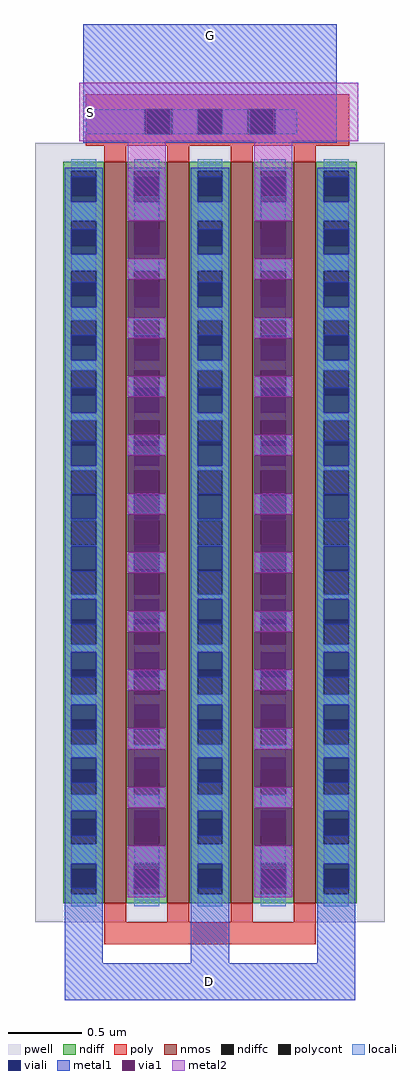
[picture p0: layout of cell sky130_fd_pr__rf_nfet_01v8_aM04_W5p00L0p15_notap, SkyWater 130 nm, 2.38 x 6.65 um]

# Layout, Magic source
magic
tech sky130B
magscale 1 2
<< pwell >>
rect 100 66 576 1128
<< nmos >>
rect 194 92 224 1102
rect 280 92 310 1102
rect 366 92 396 1102
rect 452 92 482 1102
<< ndiff >>
rect 138 1090 194 1102
rect 138 1056 149 1090
rect 183 1056 194 1090
rect 138 1022 194 1056
rect 138 988 149 1022
rect 183 988 194 1022
rect 138 954 194 988
rect 138 920 149 954
rect 183 920 194 954
rect 138 886 194 920
rect 138 852 149 886
rect 183 852 194 886
rect 138 818 194 852
rect 138 784 149 818
rect 183 784 194 818
rect 138 750 194 784
rect 138 716 149 750
rect 183 716 194 750
rect 138 682 194 716
rect 138 648 149 682
rect 183 648 194 682
rect 138 614 194 648
rect 138 580 149 614
rect 183 580 194 614
rect 138 546 194 580
rect 138 512 149 546
rect 183 512 194 546
rect 138 478 194 512
rect 138 444 149 478
rect 183 444 194 478
rect 138 410 194 444
rect 138 376 149 410
rect 183 376 194 410
rect 138 342 194 376
rect 138 308 149 342
rect 183 308 194 342
rect 138 274 194 308
rect 138 240 149 274
rect 183 240 194 274
rect 138 206 194 240
rect 138 172 149 206
rect 183 172 194 206
rect 138 138 194 172
rect 138 104 149 138
rect 183 104 194 138
rect 138 92 194 104
rect 224 1090 280 1102
rect 224 1056 235 1090
rect 269 1056 280 1090
rect 224 1022 280 1056
rect 224 988 235 1022
rect 269 988 280 1022
rect 224 954 280 988
rect 224 920 235 954
rect 269 920 280 954
rect 224 886 280 920
rect 224 852 235 886
rect 269 852 280 886
rect 224 818 280 852
rect 224 784 235 818
rect 269 784 280 818
rect 224 750 280 784
rect 224 716 235 750
rect 269 716 280 750
rect 224 682 280 716
rect 224 648 235 682
rect 269 648 280 682
rect 224 614 280 648
rect 224 580 235 614
rect 269 580 280 614
rect 224 546 280 580
rect 224 512 235 546
rect 269 512 280 546
rect 224 478 280 512
rect 224 444 235 478
rect 269 444 280 478
rect 224 410 280 444
rect 224 376 235 410
rect 269 376 280 410
rect 224 342 280 376
rect 224 308 235 342
rect 269 308 280 342
rect 224 274 280 308
rect 224 240 235 274
rect 269 240 280 274
rect 224 206 280 240
rect 224 172 235 206
rect 269 172 280 206
rect 224 138 280 172
rect 224 104 235 138
rect 269 104 280 138
rect 224 92 280 104
rect 310 1090 366 1102
rect 310 1056 321 1090
rect 355 1056 366 1090
rect 310 1022 366 1056
rect 310 988 321 1022
rect 355 988 366 1022
rect 310 954 366 988
rect 310 920 321 954
rect 355 920 366 954
rect 310 886 366 920
rect 310 852 321 886
rect 355 852 366 886
rect 310 818 366 852
rect 310 784 321 818
rect 355 784 366 818
rect 310 750 366 784
rect 310 716 321 750
rect 355 716 366 750
rect 310 682 366 716
rect 310 648 321 682
rect 355 648 366 682
rect 310 614 366 648
rect 310 580 321 614
rect 355 580 366 614
rect 310 546 366 580
rect 310 512 321 546
rect 355 512 366 546
rect 310 478 366 512
rect 310 444 321 478
rect 355 444 366 478
rect 310 410 366 444
rect 310 376 321 410
rect 355 376 366 410
rect 310 342 366 376
rect 310 308 321 342
rect 355 308 366 342
rect 310 274 366 308
rect 310 240 321 274
rect 355 240 366 274
rect 310 206 366 240
rect 310 172 321 206
rect 355 172 366 206
rect 310 138 366 172
rect 310 104 321 138
rect 355 104 366 138
rect 310 92 366 104
rect 396 1090 452 1102
rect 396 1056 407 1090
rect 441 1056 452 1090
rect 396 1022 452 1056
rect 396 988 407 1022
rect 441 988 452 1022
rect 396 954 452 988
rect 396 920 407 954
rect 441 920 452 954
rect 396 886 452 920
rect 396 852 407 886
rect 441 852 452 886
rect 396 818 452 852
rect 396 784 407 818
rect 441 784 452 818
rect 396 750 452 784
rect 396 716 407 750
rect 441 716 452 750
rect 396 682 452 716
rect 396 648 407 682
rect 441 648 452 682
rect 396 614 452 648
rect 396 580 407 614
rect 441 580 452 614
rect 396 546 452 580
rect 396 512 407 546
rect 441 512 452 546
rect 396 478 452 512
rect 396 444 407 478
rect 441 444 452 478
rect 396 410 452 444
rect 396 376 407 410
rect 441 376 452 410
rect 396 342 452 376
rect 396 308 407 342
rect 441 308 452 342
rect 396 274 452 308
rect 396 240 407 274
rect 441 240 452 274
rect 396 206 452 240
rect 396 172 407 206
rect 441 172 452 206
rect 396 138 452 172
rect 396 104 407 138
rect 441 104 452 138
rect 396 92 452 104
rect 482 1090 538 1102
rect 482 1056 493 1090
rect 527 1056 538 1090
rect 482 1022 538 1056
rect 482 988 493 1022
rect 527 988 538 1022
rect 482 954 538 988
rect 482 920 493 954
rect 527 920 538 954
rect 482 886 538 920
rect 482 852 493 886
rect 527 852 538 886
rect 482 818 538 852
rect 482 784 493 818
rect 527 784 538 818
rect 482 750 538 784
rect 482 716 493 750
rect 527 716 538 750
rect 482 682 538 716
rect 482 648 493 682
rect 527 648 538 682
rect 482 614 538 648
rect 482 580 493 614
rect 527 580 538 614
rect 482 546 538 580
rect 482 512 493 546
rect 527 512 538 546
rect 482 478 538 512
rect 482 444 493 478
rect 527 444 538 478
rect 482 410 538 444
rect 482 376 493 410
rect 527 376 538 410
rect 482 342 538 376
rect 482 308 493 342
rect 527 308 538 342
rect 482 274 538 308
rect 482 240 493 274
rect 527 240 538 274
rect 482 206 538 240
rect 482 172 493 206
rect 527 172 538 206
rect 482 138 538 172
rect 482 104 493 138
rect 527 104 538 138
rect 482 92 538 104
<< ndiffc >>
rect 149 1056 183 1090
rect 149 988 183 1022
rect 149 920 183 954
rect 149 852 183 886
rect 149 784 183 818
rect 149 716 183 750
rect 149 648 183 682
rect 149 580 183 614
rect 149 512 183 546
rect 149 444 183 478
rect 149 376 183 410
rect 149 308 183 342
rect 149 240 183 274
rect 149 172 183 206
rect 149 104 183 138
rect 235 1056 269 1090
rect 235 988 269 1022
rect 235 920 269 954
rect 235 852 269 886
rect 235 784 269 818
rect 235 716 269 750
rect 235 648 269 682
rect 235 580 269 614
rect 235 512 269 546
rect 235 444 269 478
rect 235 376 269 410
rect 235 308 269 342
rect 235 240 269 274
rect 235 172 269 206
rect 235 104 269 138
rect 321 1056 355 1090
rect 321 988 355 1022
rect 321 920 355 954
rect 321 852 355 886
rect 321 784 355 818
rect 321 716 355 750
rect 321 648 355 682
rect 321 580 355 614
rect 321 512 355 546
rect 321 444 355 478
rect 321 376 355 410
rect 321 308 355 342
rect 321 240 355 274
rect 321 172 355 206
rect 321 104 355 138
rect 407 1056 441 1090
rect 407 988 441 1022
rect 407 920 441 954
rect 407 852 441 886
rect 407 784 441 818
rect 407 716 441 750
rect 407 648 441 682
rect 407 580 441 614
rect 407 512 441 546
rect 407 444 441 478
rect 407 376 441 410
rect 407 308 441 342
rect 407 240 441 274
rect 407 172 441 206
rect 407 104 441 138
rect 493 1056 527 1090
rect 493 988 527 1022
rect 493 920 527 954
rect 493 852 527 886
rect 493 784 527 818
rect 493 716 527 750
rect 493 648 527 682
rect 493 580 527 614
rect 493 512 527 546
rect 493 444 527 478
rect 493 376 527 410
rect 493 308 527 342
rect 493 240 527 274
rect 493 172 527 206
rect 493 104 527 138
<< poly >>
rect 169 1174 528 1194
rect 169 1140 253 1174
rect 287 1140 321 1174
rect 355 1140 389 1174
rect 423 1140 528 1174
rect 169 1124 528 1140
rect 194 1102 224 1124
rect 280 1102 310 1124
rect 366 1102 396 1124
rect 452 1102 482 1124
rect 194 66 224 92
rect 280 66 310 92
rect 366 66 396 92
rect 452 66 482 92
rect 194 36 482 66
<< polycont >>
rect 253 1140 287 1174
rect 321 1140 355 1174
rect 389 1140 423 1174
<< locali >>
rect 169 1140 249 1174
rect 287 1140 321 1174
rect 355 1140 389 1174
rect 427 1140 457 1174
rect 149 1090 183 1106
rect 149 1022 183 1048
rect 149 954 183 976
rect 149 886 183 904
rect 149 818 183 832
rect 149 750 183 760
rect 149 682 183 688
rect 149 614 183 616
rect 149 578 183 580
rect 149 506 183 512
rect 149 434 183 444
rect 149 362 183 376
rect 149 290 183 308
rect 149 218 183 240
rect 149 146 183 172
rect 149 88 183 104
rect 235 1090 269 1106
rect 235 1022 269 1048
rect 235 954 269 976
rect 235 886 269 904
rect 235 818 269 832
rect 235 750 269 760
rect 235 682 269 688
rect 235 614 269 616
rect 235 578 269 580
rect 235 506 269 512
rect 235 434 269 444
rect 235 362 269 376
rect 235 290 269 308
rect 235 218 269 240
rect 235 146 269 172
rect 235 88 269 104
rect 321 1090 355 1106
rect 321 1022 355 1048
rect 321 954 355 976
rect 321 886 355 904
rect 321 818 355 832
rect 321 750 355 760
rect 321 682 355 688
rect 321 614 355 616
rect 321 578 355 580
rect 321 506 355 512
rect 321 434 355 444
rect 321 362 355 376
rect 321 290 355 308
rect 321 218 355 240
rect 321 146 355 172
rect 321 88 355 104
rect 407 1090 441 1106
rect 407 1022 441 1048
rect 407 954 441 976
rect 407 886 441 904
rect 407 818 441 832
rect 407 750 441 760
rect 407 682 441 688
rect 407 614 441 616
rect 407 578 441 580
rect 407 506 441 512
rect 407 434 441 444
rect 407 362 441 376
rect 407 290 441 308
rect 407 218 441 240
rect 407 146 441 172
rect 407 88 441 104
rect 493 1090 527 1106
rect 493 1022 527 1048
rect 493 954 527 976
rect 493 886 527 904
rect 493 818 527 832
rect 493 750 527 760
rect 493 682 527 688
rect 493 614 527 616
rect 493 578 527 580
rect 493 506 527 512
rect 493 434 527 444
rect 493 362 527 376
rect 493 290 527 308
rect 493 218 527 240
rect 493 146 527 172
rect 493 88 527 104
<< viali >>
rect 249 1140 253 1174
rect 253 1140 283 1174
rect 321 1140 355 1174
rect 393 1140 423 1174
rect 423 1140 427 1174
rect 149 1056 183 1082
rect 149 1048 183 1056
rect 149 988 183 1010
rect 149 976 183 988
rect 149 920 183 938
rect 149 904 183 920
rect 149 852 183 866
rect 149 832 183 852
rect 149 784 183 794
rect 149 760 183 784
rect 149 716 183 722
rect 149 688 183 716
rect 149 648 183 650
rect 149 616 183 648
rect 149 546 183 578
rect 149 544 183 546
rect 149 478 183 506
rect 149 472 183 478
rect 149 410 183 434
rect 149 400 183 410
rect 149 342 183 362
rect 149 328 183 342
rect 149 274 183 290
rect 149 256 183 274
rect 149 206 183 218
rect 149 184 183 206
rect 149 138 183 146
rect 149 112 183 138
rect 235 1056 269 1082
rect 235 1048 269 1056
rect 235 988 269 1010
rect 235 976 269 988
rect 235 920 269 938
rect 235 904 269 920
rect 235 852 269 866
rect 235 832 269 852
rect 235 784 269 794
rect 235 760 269 784
rect 235 716 269 722
rect 235 688 269 716
rect 235 648 269 650
rect 235 616 269 648
rect 235 546 269 578
rect 235 544 269 546
rect 235 478 269 506
rect 235 472 269 478
rect 235 410 269 434
rect 235 400 269 410
rect 235 342 269 362
rect 235 328 269 342
rect 235 274 269 290
rect 235 256 269 274
rect 235 206 269 218
rect 235 184 269 206
rect 235 138 269 146
rect 235 112 269 138
rect 321 1056 355 1082
rect 321 1048 355 1056
rect 321 988 355 1010
rect 321 976 355 988
rect 321 920 355 938
rect 321 904 355 920
rect 321 852 355 866
rect 321 832 355 852
rect 321 784 355 794
rect 321 760 355 784
rect 321 716 355 722
rect 321 688 355 716
rect 321 648 355 650
rect 321 616 355 648
rect 321 546 355 578
rect 321 544 355 546
rect 321 478 355 506
rect 321 472 355 478
rect 321 410 355 434
rect 321 400 355 410
rect 321 342 355 362
rect 321 328 355 342
rect 321 274 355 290
rect 321 256 355 274
rect 321 206 355 218
rect 321 184 355 206
rect 321 138 355 146
rect 321 112 355 138
rect 407 1056 441 1082
rect 407 1048 441 1056
rect 407 988 441 1010
rect 407 976 441 988
rect 407 920 441 938
rect 407 904 441 920
rect 407 852 441 866
rect 407 832 441 852
rect 407 784 441 794
rect 407 760 441 784
rect 407 716 441 722
rect 407 688 441 716
rect 407 648 441 650
rect 407 616 441 648
rect 407 546 441 578
rect 407 544 441 546
rect 407 478 441 506
rect 407 472 441 478
rect 407 410 441 434
rect 407 400 441 410
rect 407 342 441 362
rect 407 328 441 342
rect 407 274 441 290
rect 407 256 441 274
rect 407 206 441 218
rect 407 184 441 206
rect 407 138 441 146
rect 407 112 441 138
rect 493 1056 527 1082
rect 493 1048 527 1056
rect 493 988 527 1010
rect 493 976 527 988
rect 493 920 527 938
rect 493 904 527 920
rect 493 852 527 866
rect 493 832 527 852
rect 493 784 527 794
rect 493 760 527 784
rect 493 716 527 722
rect 493 688 527 716
rect 493 648 527 650
rect 493 616 527 648
rect 493 546 527 578
rect 493 544 527 546
rect 493 478 527 506
rect 493 472 527 478
rect 493 410 527 434
rect 493 400 527 410
rect 493 342 527 362
rect 493 328 527 342
rect 493 274 527 290
rect 493 256 527 274
rect 493 206 527 218
rect 493 184 527 206
rect 493 138 527 146
rect 493 112 527 138
<< metal1 >>
rect 165 1174 511 1290
rect 165 1140 249 1174
rect 283 1140 321 1174
rect 355 1140 393 1174
rect 427 1140 511 1174
rect 165 1128 511 1140
rect 140 1082 192 1094
rect 140 1048 149 1082
rect 183 1048 192 1082
rect 140 1010 192 1048
rect 140 976 149 1010
rect 183 976 192 1010
rect 140 938 192 976
rect 140 904 149 938
rect 183 904 192 938
rect 140 866 192 904
rect 140 832 149 866
rect 183 832 192 866
rect 140 794 192 832
rect 140 760 149 794
rect 183 760 192 794
rect 140 722 192 760
rect 140 688 149 722
rect 183 688 192 722
rect 140 650 192 688
rect 140 616 149 650
rect 183 616 192 650
rect 140 578 192 616
rect 140 544 149 578
rect 183 544 192 578
rect 140 506 192 544
rect 140 472 149 506
rect 183 472 192 506
rect 140 434 192 472
rect 140 400 149 434
rect 183 400 192 434
rect 140 362 192 400
rect 140 328 149 362
rect 183 328 192 362
rect 140 290 192 328
rect 140 256 149 290
rect 183 256 192 290
rect 140 218 192 256
rect 140 184 149 218
rect 183 184 192 218
rect 140 146 192 184
rect 140 112 149 146
rect 183 112 192 146
rect 140 10 192 112
rect 226 1082 278 1094
rect 226 1048 235 1082
rect 269 1048 278 1082
rect 226 1022 278 1048
rect 226 942 278 970
rect 226 866 278 890
rect 226 862 235 866
rect 269 862 278 866
rect 226 794 278 810
rect 226 782 235 794
rect 269 782 278 794
rect 226 722 278 730
rect 226 702 235 722
rect 269 702 278 722
rect 226 622 235 650
rect 269 622 278 650
rect 226 544 235 570
rect 269 544 278 570
rect 226 542 278 544
rect 226 472 235 490
rect 269 472 278 490
rect 226 462 278 472
rect 226 400 235 410
rect 269 400 278 410
rect 226 382 278 400
rect 226 328 235 330
rect 269 328 278 330
rect 226 302 278 328
rect 226 222 278 250
rect 226 146 278 170
rect 226 112 235 146
rect 269 112 278 146
rect 226 100 278 112
rect 312 1082 364 1094
rect 312 1048 321 1082
rect 355 1048 364 1082
rect 312 1010 364 1048
rect 312 976 321 1010
rect 355 976 364 1010
rect 312 938 364 976
rect 312 904 321 938
rect 355 904 364 938
rect 312 866 364 904
rect 312 832 321 866
rect 355 832 364 866
rect 312 794 364 832
rect 312 760 321 794
rect 355 760 364 794
rect 312 722 364 760
rect 312 688 321 722
rect 355 688 364 722
rect 312 650 364 688
rect 312 616 321 650
rect 355 616 364 650
rect 312 578 364 616
rect 312 544 321 578
rect 355 544 364 578
rect 312 506 364 544
rect 312 472 321 506
rect 355 472 364 506
rect 312 434 364 472
rect 312 400 321 434
rect 355 400 364 434
rect 312 362 364 400
rect 312 328 321 362
rect 355 328 364 362
rect 312 290 364 328
rect 312 256 321 290
rect 355 256 364 290
rect 312 218 364 256
rect 312 184 321 218
rect 355 184 364 218
rect 312 146 364 184
rect 312 112 321 146
rect 355 112 364 146
rect 312 10 364 112
rect 398 1082 450 1094
rect 398 1048 407 1082
rect 441 1048 450 1082
rect 398 1022 450 1048
rect 398 942 450 970
rect 398 866 450 890
rect 398 862 407 866
rect 441 862 450 866
rect 398 794 450 810
rect 398 782 407 794
rect 441 782 450 794
rect 398 722 450 730
rect 398 702 407 722
rect 441 702 450 722
rect 398 622 407 650
rect 441 622 450 650
rect 398 544 407 570
rect 441 544 450 570
rect 398 542 450 544
rect 398 472 407 490
rect 441 472 450 490
rect 398 462 450 472
rect 398 400 407 410
rect 441 400 450 410
rect 398 382 450 400
rect 398 328 407 330
rect 441 328 450 330
rect 398 302 450 328
rect 398 222 450 250
rect 398 146 450 170
rect 398 112 407 146
rect 441 112 450 146
rect 398 100 450 112
rect 484 1082 536 1094
rect 484 1048 493 1082
rect 527 1048 536 1082
rect 484 1010 536 1048
rect 484 976 493 1010
rect 527 976 536 1010
rect 484 938 536 976
rect 484 904 493 938
rect 527 904 536 938
rect 484 866 536 904
rect 484 832 493 866
rect 527 832 536 866
rect 484 794 536 832
rect 484 760 493 794
rect 527 760 536 794
rect 484 722 536 760
rect 484 688 493 722
rect 527 688 536 722
rect 484 650 536 688
rect 484 616 493 650
rect 527 616 536 650
rect 484 578 536 616
rect 484 544 493 578
rect 527 544 536 578
rect 484 506 536 544
rect 484 472 493 506
rect 527 472 536 506
rect 484 434 536 472
rect 484 400 493 434
rect 527 400 536 434
rect 484 362 536 400
rect 484 328 493 362
rect 527 328 536 362
rect 484 290 536 328
rect 484 256 493 290
rect 527 256 536 290
rect 484 218 536 256
rect 484 184 493 218
rect 527 184 536 218
rect 484 146 536 184
rect 484 112 493 146
rect 527 112 536 146
rect 484 10 536 112
rect 140 -40 536 10
<< via1 >>
rect 226 1010 278 1022
rect 226 976 235 1010
rect 235 976 269 1010
rect 269 976 278 1010
rect 226 970 278 976
rect 226 938 278 942
rect 226 904 235 938
rect 235 904 269 938
rect 269 904 278 938
rect 226 890 278 904
rect 226 832 235 862
rect 235 832 269 862
rect 269 832 278 862
rect 226 810 278 832
rect 226 760 235 782
rect 235 760 269 782
rect 269 760 278 782
rect 226 730 278 760
rect 226 688 235 702
rect 235 688 269 702
rect 269 688 278 702
rect 226 650 278 688
rect 226 616 235 622
rect 235 616 269 622
rect 269 616 278 622
rect 226 578 278 616
rect 226 570 235 578
rect 235 570 269 578
rect 269 570 278 578
rect 226 506 278 542
rect 226 490 235 506
rect 235 490 269 506
rect 269 490 278 506
rect 226 434 278 462
rect 226 410 235 434
rect 235 410 269 434
rect 269 410 278 434
rect 226 362 278 382
rect 226 330 235 362
rect 235 330 269 362
rect 269 330 278 362
rect 226 290 278 302
rect 226 256 235 290
rect 235 256 269 290
rect 269 256 278 290
rect 226 250 278 256
rect 226 218 278 222
rect 226 184 235 218
rect 235 184 269 218
rect 269 184 278 218
rect 226 170 278 184
rect 398 1010 450 1022
rect 398 976 407 1010
rect 407 976 441 1010
rect 441 976 450 1010
rect 398 970 450 976
rect 398 938 450 942
rect 398 904 407 938
rect 407 904 441 938
rect 441 904 450 938
rect 398 890 450 904
rect 398 832 407 862
rect 407 832 441 862
rect 441 832 450 862
rect 398 810 450 832
rect 398 760 407 782
rect 407 760 441 782
rect 441 760 450 782
rect 398 730 450 760
rect 398 688 407 702
rect 407 688 441 702
rect 441 688 450 702
rect 398 650 450 688
rect 398 616 407 622
rect 407 616 441 622
rect 441 616 450 622
rect 398 578 450 616
rect 398 570 407 578
rect 407 570 441 578
rect 441 570 450 578
rect 398 506 450 542
rect 398 490 407 506
rect 407 490 441 506
rect 441 490 450 506
rect 398 434 450 462
rect 398 410 407 434
rect 407 410 441 434
rect 441 410 450 434
rect 398 362 450 382
rect 398 330 407 362
rect 407 330 441 362
rect 441 330 450 362
rect 398 290 450 302
rect 398 256 407 290
rect 407 256 441 290
rect 441 256 450 290
rect 398 250 450 256
rect 398 218 450 222
rect 398 184 407 218
rect 407 184 441 218
rect 441 184 450 218
rect 398 170 450 184
<< metal2 >>
rect 160 1130 540 1210
rect 226 1022 278 1130
rect 226 942 278 970
rect 226 862 278 890
rect 226 782 278 810
rect 226 702 278 730
rect 226 622 278 650
rect 226 542 278 570
rect 226 462 278 490
rect 226 382 278 410
rect 226 302 278 330
rect 226 222 278 250
rect 226 100 278 170
rect 398 1022 450 1130
rect 398 942 450 970
rect 398 862 450 890
rect 398 782 450 810
rect 398 702 450 730
rect 398 622 450 650
rect 398 542 450 570
rect 398 462 450 490
rect 398 382 450 410
rect 398 302 450 330
rect 398 222 450 250
rect 398 100 450 170
<< labels >>
rlabel metal1 165 1260 511 1290 1 G
rlabel metal1 139 -41 536 11 1 D
rlabel metal2 160 1130 190 1210 1 S
<< end >>
